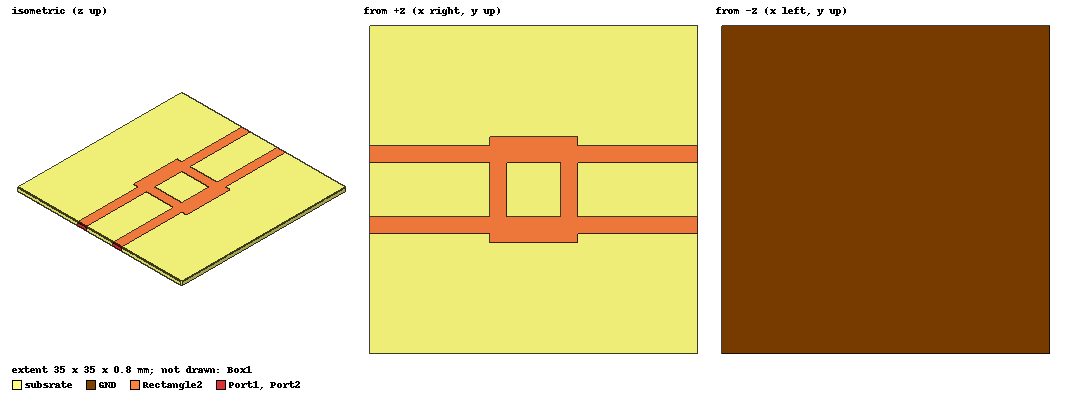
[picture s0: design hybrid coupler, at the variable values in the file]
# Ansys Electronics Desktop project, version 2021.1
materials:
  vacuum: permittivity=1
  FR-4
  FR4_epoxy: permittivity=4.4 dielectric_loss_tangent=0.02

design hybrid coupler (HFSS, DrivenModal, model units mm)
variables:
  Ls = Ws
  Ws = 35mm
  h = 0.8mm
  W = 5.75mm
  W50 = 1.8mm
  W35 = 2.8mm
  Bo = 20mm
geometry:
  subsrate [FR4_epoxy] = box(corner=(-Ls/2, -Ws/2, 0mm), size=(Ls, Ws, h))
  GND = rectangle(corner=(-Ls/2, -Ws/2, 0mm), x_size=Ls, y_size=ws)
  Rectangle1 = rectangle(corner=(-W/2, -W/2, H), x_size=W, y_size=W)
  Rectangle2 = rectangle(corner=(-W/2-W50, -W/2-W35, H), x_size=W+2*W50, y_size=W+2*W35)
  Rectangle3 = rectangle(corner=(-W/2, -W/2, H), x_size=-(Ws/2-W/2), y_size=-W50)
  Rectangle2.subtract(Rectangle1)
  Rectangle3_1 = Rectangle3.duplicate_mirror(point=(-30mm, 0mm, 0mm), normal=(0mm, 1mm, 0mm))
  Rectangle3.unite(Rectangle3_1)
  Rectangle3_2 = Rectangle3.duplicate_mirror(point=(0mm, 50mm, 0mm), normal=(1mm, 0mm, 0mm))
  Rectangle2.unite(Rectangle3, Rectangle3_2)
  Port1 = rectangle(corner=(Ws/2, -W/2, H), y_size=-W50, z_size=-H)
  Port2 = Port1.duplicate_mirror(point=(30mm, 0mm, 0mm), normal=(0mm, 1mm, 0mm))
  Port3 = Port1.duplicate_mirror(point=(0mm, 30mm, 0mm), normal=(-1mm, 0mm, 0mm))
  Port4 = Port2.duplicate_mirror(point=(0mm, 30mm, 0mm), normal=(-1mm, 0mm, 0mm))
  Box1 [vacuum] = box(corner=(-Ws/2-Bo, -Ws/2-Bo, -Bo), size=(Ws+2*Bo, Ws+2*Bo, H+2*Bo))
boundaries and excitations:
  PerfE1: Perfect E Objects=[GND, Rectangle2]
  Rad1: Radiation Objects=Box1
  1: Lumped Port Objects=Port1 Modes{Mode1{IntLine{middle of Port1.edge(z at corner) -> middle of Port1.edge(z opposite corner)} CharImp=Zpi RenormImp=50ohm}} Impedance=50ohm
  2: Lumped Port Objects=Port2 Modes{Mode1{IntLine{middle of Port2.edge(1 of 4) -> middle of Port2.edge(3 of 4)} CharImp=Zpi RenormImp=50ohm}} Impedance=50ohm
  3: Lumped Port Objects=Port3 Modes{Mode1{IntLine{middle of Port3.edge(1 of 4) -> middle of Port3.edge(3 of 4)} CharImp=Zpi RenormImp=50ohm}} Impedance=50ohm
  4: Lumped Port Objects=Port4 Modes{Mode1{IntLine{middle of Port4.edge(1 of 4) -> middle of Port4.edge(3 of 4)} CharImp=Zpi RenormImp=50ohm}} Impedance=50ohm
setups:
  Setup1: HfssDriven Frequency=5.6GHz MaxDeltaS=0.02 MaximumPasses=10 MinimumPasses=1 MinimumConvergedPasses=1 PercentRefinement=30 BasisOrder=1 PortAccuracy=2
    sweep Sweep: 5.2GHz to 6GHz step 0.04GHz; Type=Discrete
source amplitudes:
  1:1: 1W 0deg
  2:1, 3:1, 4:1: 0W 0deg
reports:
  S Parameter Plot 1: dB(S(1,1)), dB(S(2,1)), dB(S(3,1)), dB(S(4,1)) vs Freq on Setup1 : Sweep; markers m1 at 4.4GHz, m2 at 4.4GHz, m3 at 4.45GHz
  S Parameter Plot 2: cang_deg(S(3,1)), cang_deg(S(4,1)) vs Freq on Setup1 : Sweep; markers m1 at 5.6GHz, m2 at 5.6GHz
